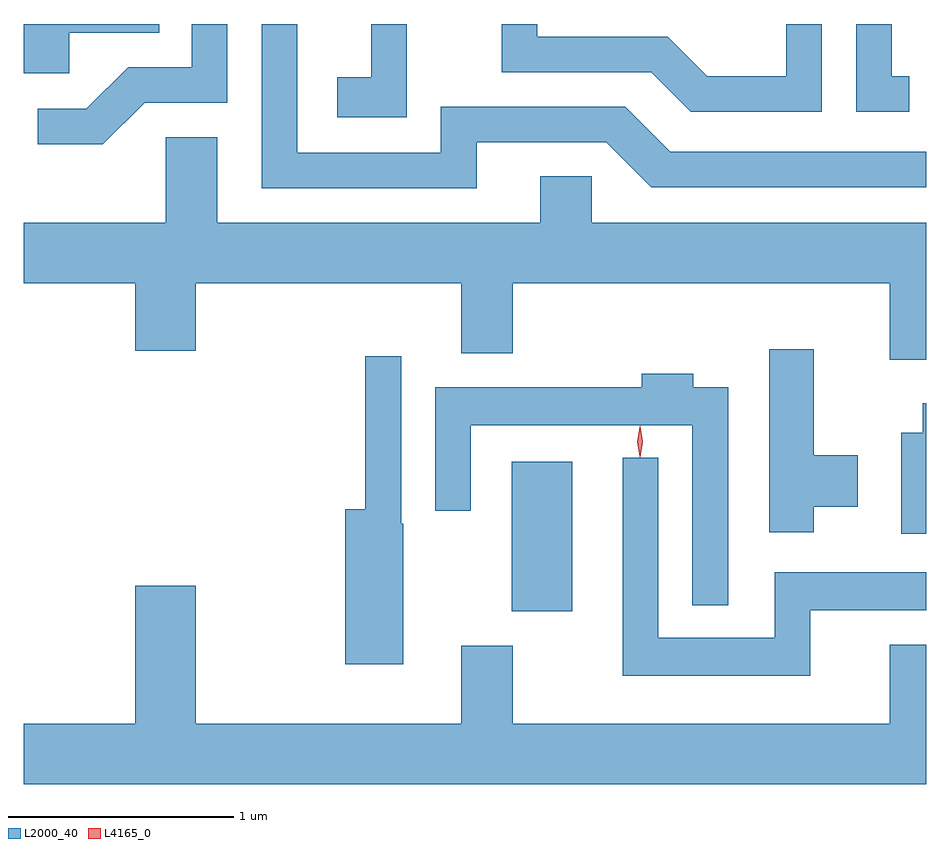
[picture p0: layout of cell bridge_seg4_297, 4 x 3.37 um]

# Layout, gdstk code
import gdstk
lib = gdstk.Library(unit=1e-6, precision=1e-09)
def R(c, l, rs):  # rectangles x0, y0, x1, y1
    for r in rs: c.add(gdstk.rectangle(r[:2], r[2:], *l))
def P(c, l, *ps):  # polygons
    for p in ps: c.add(gdstk.Polygon(p, *l))
L2000_40 = (2000, 40)
L4165_0 = (4165, 0)

bridge_seg4_297 = lib.new_cell('bridge_seg4_297')
R(bridge_seg4_297, L2000_40, [(516.446,1319.921,516.714,1320.584)])
P(bridge_seg4_297, L2000_40, [(517.819,1322.525),(517.661,1322.525),(517.661,1322.294),(517.312,1322.294),(517.136,1322.469),(516.559,1322.469),(516.559,1322.525),(516.401,1322.525),(516.401,1322.311),(517.064,1322.311),(517.239,1322.136),(517.819,1322.136)],
  [(514.484,1322.486),(514.883,1322.486),(514.883,1322.525),(514.282,1322.525),(514.282,1322.306),(514.484,1322.306)],
  [(514.817,1322.176),(515.184,1322.176),(515.184,1322.525),(515.026,1322.525),(515.026,1322.334),(514.744,1322.334),(514.559,1322.149),(514.343,1322.149),(514.343,1321.991),(514.631,1321.991)],
  [(515.979,1322.525),(515.821,1322.525),(515.821,1322.289),(515.671,1322.289),(515.671,1322.111),(515.979,1322.111)],
  [(516.289,1322.001),(516.864,1322.001),(517.064,1321.801),(518.282,1321.801),(518.282,1321.959),(517.147,1321.959),(516.947,1322.159),(516.131,1322.159),(516.131,1321.954),(515.494,1321.954),(515.494,1322.525),(515.336,1322.525),(515.336,1321.796),(516.289,1321.796)],
  [(518.208,1322.294),(518.129,1322.294),(518.129,1322.525),(517.971,1322.525),(517.971,1322.136),(518.208,1322.136)],
  [(518.282,1321.644),(516.799,1321.644),(516.799,1321.849),(516.571,1321.849),(516.571,1321.644),(515.139,1321.644),(515.139,1322.024),(514.911,1322.024),(514.911,1321.644),(514.282,1321.644),(514.282,1321.376),(514.776,1321.376),(514.776,1321.076),(515.044,1321.076),(515.044,1321.376),(516.221,1321.376),(516.221,1321.066),(516.449,1321.066),(516.449,1321.376),(518.121,1321.376),(518.121,1321.036),(518.282,1321.036)],
  [(517.784,1320.386),(517.979,1320.386),(517.979,1320.614),(517.784,1320.614),(517.784,1321.084),(517.586,1321.084),(517.586,1320.271),(517.784,1320.271)],
  [(515.964,1320.31),(515.954,1320.31),(515.954,1321.053),(515.796,1321.053),(515.796,1320.374),(515.706,1320.374),(515.706,1319.686),(515.964,1319.686)],
  [(517.404,1320.914),(517.249,1320.914),(517.249,1320.974),(517.021,1320.974),(517.021,1320.914),(516.106,1320.914),(516.106,1320.368),(516.264,1320.368),(516.264,1320.746),(517.246,1320.746),(517.246,1319.948),(517.404,1319.948)],
  [(518.282,1320.844),(518.266,1320.844),(518.266,1320.714),(518.171,1320.714),(518.171,1320.266),(518.282,1320.266)],
  [(517.769,1319.926),(518.282,1319.926),(518.282,1320.094),(517.611,1320.094),(517.611,1319.804),(517.094,1319.804),(517.094,1320.603),(516.936,1320.603),(516.936,1319.636),(517.769,1319.636)],
  [(518.282,1319.774),(518.121,1319.774),(518.121,1319.424),(516.449,1319.424),(516.449,1319.769),(516.221,1319.769),(516.221,1319.424),(515.044,1319.424),(515.044,1320.034),(514.776,1320.034),(514.776,1319.424),(514.282,1319.424),(514.282,1319.156),(518.282,1319.156)])
P(bridge_seg4_297, L4165_0, [(517.012,1320.607),(517.012,1320.608),(517.002,1320.674),(517.012,1320.74),(517.012,1320.74),(517.013,1320.74),(517.022,1320.674),(517.013,1320.608)],
  [(517.014,1320.604),(517.005,1320.674),(517.014,1320.742),(517.015,1320.743),(517.015,1320.742),(517.025,1320.674),(517.015,1320.604),(517.015,1320.604)])

lib.write_gds('bridge_seg4_297.gds')
